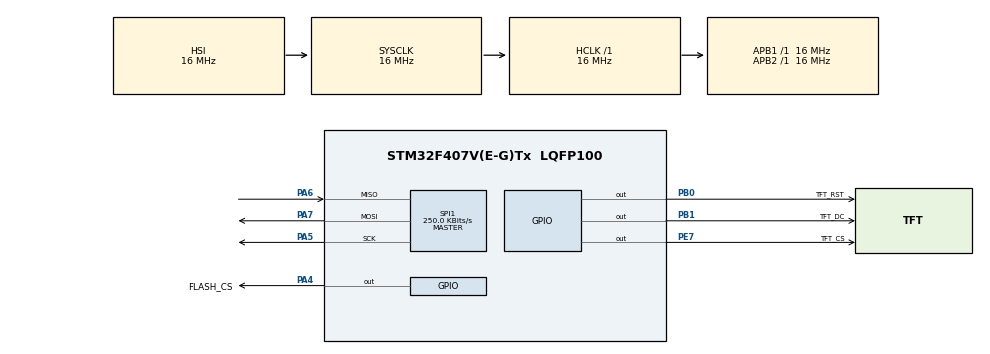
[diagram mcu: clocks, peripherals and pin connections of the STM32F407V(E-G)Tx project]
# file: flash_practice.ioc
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Mcu.Family=STM32F4
Mcu.Name=STM32F407V(E-G)Tx
Mcu.Package=LQFP100
NVIC.PriorityGroup=NVIC_PRIORITYGROUP_4
PA4.GPIO_Label=FLASH_CS
PA4.PinState=GPIO_PIN_SET
PA4.Signal=GPIO_Output
PA5.Mode=Full_Duplex_Master
PA5.Signal=SPI1_SCK
PA6.Mode=Full_Duplex_Master
PA6.Signal=SPI1_MISO
PA7.Mode=Full_Duplex_Master
PA7.Signal=SPI1_MOSI
PB0.GPIO_Label=TFT_RST
PB0.PinState=GPIO_PIN_SET
PB0.Signal=GPIO_Output
PB1.GPIO_Label=TFT_DC
PB1.PinState=GPIO_PIN_SET
PB1.Signal=GPIO_Output
PE7.GPIO_Label=TFT_CS
PE7.PinState=GPIO_PIN_SET
PE7.Signal=GPIO_Output
ProjectManager.HeapSize=0x200
ProjectManager.StackSize=0x400
ProjectManager.TargetToolchain=STM32CubeIDE
RCC.AHBFreq_Value=16000000
RCC.APB1Freq_Value=16000000
RCC.APB2Freq_Value=16000000
RCC.CortexFreq_Value=16000000
RCC.HSE_VALUE=25000000
RCC.HSI_VALUE=16000000
RCC.LSE_VALUE=32768
RCC.SYSCLKFreq_VALUE=16000000
RCC.VCOOutputFreq_Value=192000000
SPI1.BaudRatePrescaler=SPI_BAUDRATEPRESCALER_64
SPI1.CalculateBaudRate=250.0 KBits/s
SPI1.Direction=SPI_DIRECTION_2LINES
SPI1.Mode=SPI_MODE_MASTER
SPI1.VirtualType=VM_MASTER
board=custom

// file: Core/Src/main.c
/* USER CODE BEGIN Header */
/**
  ******************************************************************************
  * @file           : main.c
  * @brief          : Main program body
  ******************************************************************************
  * @attention
  *
  * Copyright (c) 2026 STMicroelectronics.
  * All rights reserved.
  *
  * This software is licensed under terms that can be found in the LICENSE file
  * in the root directory of this software component.
  * If no LICENSE file comes with this software, it is provided AS-IS.
  *
  ******************************************************************************
  */
/* USER CODE END Header */
#include "main.h"

/* USER CODE BEGIN Includes */
#include <stdio.h>
/* USER CODE END Includes */

/* USER CODE BEGIN PTD */
#define SPI1_CLK_GPIO_Port GPIOA
#define SPI1_CLK_Pin GPIO_PIN_5

#define FLASH_CS_GPIO_Port GPIOA
#define FLASH_CS_Pin GPIO_PIN_4

#define TFT_CS_GPIO_Port GPIOE
#define TFT_CS_Pin GPIO_PIN_7
#define TFT_RST_GPIO_Port GPIOB
#define TFT_RST_Pin GPIO_PIN_0
#define TFT_DC_GPIO_Port GPIOB
#define TFT_DC_Pin GPIO_PIN_1

// TFT display setting
#define TFT_BLACK  0x0000
#define TFT_WHITE  0xFFFF
#define TFT_CYAN   0x07FF
#define TFT_GREEN  0x07E0
#define TFT_YELLOW 0xFFE0
#define TFT_GRAY   0x8410
// 5x7 字型，索引依照下面 chars 的順序
static const char chars[] =
    " ABCDEFGHIJKLMNOPQRSTUVWXYZ0123456789:/.-";

static const uint8_t font[][5] = {
    {0,0,0,0,0},          // space
    {0x7E,0x11,0x11,0x11,0x7E}, // A
    {0x7F,0x49,0x49,0x49,0x36}, // B
    {0x3E,0x41,0x41,0x41,0x22}, // C
    {0x7F,0x41,0x41,0x22,0x1C}, // D
    {0x7F,0x49,0x49,0x49,0x41}, // E
    {0x7F,0x09,0x09,0x09,0x01}, // F
    {0x3E,0x41,0x49,0x49,0x7A}, // G
    {0x7F,0x08,0x08,0x08,0x7F}, // H
    {0x41,0x41,0x7F,0x41,0x41}, // I
    {0x20,0x40,0x41,0x3F,0x01}, // J
    {0x7F,0x08,0x14,0x22,0x41}, // K
    {0x7F,0x40,0x40,0x40,0x40}, // L
    {0x7F,0x02,0x0C,0x02,0x7F}, // M
    {0x7F,0x04,0x08,0x10,0x7F}, // N
    {0x3E,0x41,0x41,0x41,0x3E}, // O
    {0x7F,0x09,0x09,0x09,0x06}, // P
    {0x3E,0x41,0x51,0x21,0x5E}, // Q
    {0x7F,0x09,0x19,0x29,0x46}, // R
    {0x46,0x49,0x49,0x49,0x31}, // S
    {0x01,0x01,0x7F,0x01,0x01}, // T
    {0x3F,0x40,0x40,0x40,0x3F}, // U
    {0x1F,0x20,0x40,0x20,0x1F}, // V
    {0x7F,0x20,0x18,0x20,0x7F}, // W
    {0x63,0x14,0x08,0x14,0x63}, // X
    {0x03,0x04,0x78,0x04,0x03}, // Y
    {0x61,0x51,0x49,0x45,0x43}, // Z

    {0x3E,0x51,0x49,0x45,0x3E}, // 0
    {0x00,0x42,0x7F,0x40,0x00}, // 1
    {0x42,0x61,0x51,0x49,0x46}, // 2
    {0x21,0x41,0x45,0x4B,0x31}, // 3
    {0x18,0x14,0x12,0x7F,0x10}, // 4
    {0x27,0x45,0x45,0x45,0x39}, // 5
    {0x3C,0x4A,0x49,0x49,0x30}, // 6
    {0x01,0x71,0x09,0x05,0x03}, // 7
    {0x36,0x49,0x49,0x49,0x36}, // 8
    {0x06,0x49,0x49,0x29,0x1E}, // 9

    {0x00,0x36,0x36,0x00,0x00}, // :
    {0x20,0x10,0x08,0x04,0x02}, // /
    {0x00,0x60,0x60,0x00,0x00}, // .
    {0x08,0x08,0x08,0x08,0x08}  // -
};

/*
 * has_ 欄位表示資料是否有效：
 * 0：尚未取得資料，顯示 N/A，
 * 1：已取得資料，顯示實際數值
 */
typedef struct
{
    uint8_t id[3];
    uint8_t status;
    uint32_t address;
    uint8_t data[4];

    uint8_t has_id;
    uint8_t has_status;
    uint8_t has_address;
    uint8_t has_data;

} FlashInfo;

/* USER CODE END PTD */

/* USER CODE BEGIN PM */
#define SEL_TFT()   HAL_GPIO_WritePin(TFT_CS_GPIO_Port, TFT_CS_Pin, GPIO_PIN_RESET);
#define UNSEL_TFT()   HAL_GPIO_WritePin(TFT_CS_GPIO_Port, TFT_CS_Pin, GPIO_PIN_SET);

#define SEL_FLASH()   HAL_GPIO_WritePin(FLASH_CS_GPIO_Port, FLASH_CS_Pin, GPIO_PIN_RESET);
#define UNSEL_FLASH()   HAL_GPIO_WritePin(FLASH_CS_GPIO_Port, FLASH_CS_Pin, GPIO_PIN_SET);
/* USER CODE END PM */

SPI_HandleTypeDef hspi1;

void SystemClock_Config(void);
static void MX_GPIO_Init(void);
static void MX_SPI1_Init(void);

/* USER CODE BEGIN 0 */
void TFT_Command(uint8_t cmd) {
	SEL_TFT();
	HAL_GPIO_WritePin(TFT_DC_GPIO_Port, TFT_DC_Pin, GPIO_PIN_RESET);
	HAL_SPI_Transmit(&hspi1, &cmd, 1, 1000);
	UNSEL_TFT();
}

void TFT_Data(uint8_t data) {
	SEL_TFT();
	HAL_GPIO_WritePin(TFT_DC_GPIO_Port, TFT_DC_Pin, GPIO_PIN_SET);
	HAL_SPI_Transmit(&hspi1, &data, 1, 1000);
	UNSEL_TFT();
}

void TFT_Init(void) {
	HAL_GPIO_WritePin(TFT_RST_GPIO_Port, TFT_RST_Pin, GPIO_PIN_RESET);
	HAL_Delay(20);
	HAL_GPIO_WritePin(TFT_RST_GPIO_Port, TFT_RST_Pin, GPIO_PIN_SET);

	// software reset
	TFT_Command(0x01);
	HAL_Delay(150);

	// sleep out
	TFT_Command(0x11);
	HAL_Delay(120);

	// 16-bit color(color representing format)
	TFT_Command(0x3A);
	TFT_Data(0x05);

	//Memory access control
	TFT_Command(0x36);
	TFT_Data(0xC0); // rotate 180

	// Normal display mode 螢幕進入正常顯示模式，而不是 Partial Display Mode（局部顯示模式）
	TFT_Command(0x13);
	HAL_Delay(10);

	// Display ON
	TFT_Command(0x29);
	HAL_Delay(100);
}

void TFT_DrawPixel(uint16_t x, uint16_t y, uint16_t color);
void TFT_DrawChar(uint16_t x, uint16_t y, char c,
                  uint16_t color, uint16_t bg);
void TFT_DrawString(uint16_t x, uint16_t y, const char *str,
                    uint16_t color, uint16_t bg);
void TFT_SetAddressWindow(uint16_t x0, uint16_t y0, uint16_t x1, uint16_t y1);
void TFT_FillColor(uint16_t color);
void TFT_ShowFlashInfo(const FlashInfo *info);

/* read status register*/
HAL_StatusTypeDef readFlashStatus(FlashInfo* flash){
	if (flash == NULL)
	    return HAL_ERROR;

	flash->has_status = 0;

	SEL_FLASH();
	uint8_t command = 0x05;
	HAL_StatusTypeDef commute_status = HAL_SPI_Transmit(&hspi1, &command, 1, 1000);
	if (commute_status == HAL_OK) {
		commute_status = HAL_SPI_Receive(&hspi1, &flash->status, 1, 1000);
	}
	UNSEL_FLASH();

	if (commute_status == HAL_OK) {
		flash->has_status = 1;
	}
	return commute_status;
}

HAL_StatusTypeDef readMemory(FlashInfo* flash, uint32_t address){
	if (flash == NULL || address > 0xFFFFFC)
	    return HAL_ERROR;
	flash->has_data = 0;
	flash->has_address = 0;

	uint8_t command[4] = {
			0x03,
			(uint8_t)(address >> 16),
			(uint8_t)(address >> 8),
			(uint8_t)address
	};
	SEL_FLASH();
	HAL_StatusTypeDef status = HAL_SPI_Transmit(&hspi1, command, 4, 1000);
	if (status == HAL_OK) {
		status = HAL_SPI_Receive(&hspi1, flash->data, 4, 1000);
	}
	if (status == HAL_OK) {
		flash->has_data = 1;
		flash->address = address;
		flash->has_address = 1;
	}
	UNSEL_FLASH();
	return status;
}

HAL_StatusTypeDef waitFlashReady(FlashInfo *flash, uint32_t timeout)
{
    uint32_t start = HAL_GetTick();

    while (1)
    {
        HAL_StatusTypeDef result = readFlashStatus(flash);

        if (result != HAL_OK)
            return result;

        if (!(flash->status & 0x01))
            return HAL_OK;

        if (HAL_GetTick() - start >= timeout)
            return HAL_TIMEOUT;
    }
}

HAL_StatusTypeDef writeMemory(FlashInfo* flash, uint32_t address, uint8_t data){
	if (flash == NULL || address > 0xFFFFFC)
	    return HAL_ERROR;

	// until not busy
	HAL_StatusTypeDef readStat;
	readStat = waitFlashReady(flash, 1000);
	if (readStat != HAL_OK) return readStat;

	// write enable
	SEL_FLASH();
	uint8_t command = 0x06;
	readStat = HAL_SPI_Transmit(&hspi1, &command, 1, 1000);
	UNSEL_FLASH();
	if (readStat != HAL_OK) return readStat;

	// until enable
	uint32_t start = HAL_GetTick();
	while(1){
		readStat = readFlashStatus(flash);
		if (readStat != HAL_OK)
			return readStat;

		if (flash->status & 0x02) break;

		if (HAL_GetTick() - start >= 1000)
			return HAL_TIMEOUT;
	}

	// write
	SEL_FLASH();
	uint8_t writeCmd[5] = {
			0x02,
			(uint8_t)(address >> 16),
			(uint8_t)(address >> 8),
			(uint8_t)address,
			data
	};
	readStat = HAL_SPI_Transmit(&hspi1, writeCmd, 5, 1000);
	UNSEL_FLASH();
	if (readStat != HAL_OK) return readStat;

	// until not busy
	return waitFlashReady(flash, 1000);
}

/* USER CODE END 0 */

int main(void)
{

  /* MCU Configuration--------------------------------------------------------*/

  /* Reset of all peripherals, Initializes the Flash interface and the Systick. */
  HAL_Init();

  /* Configure the system clock */
  SystemClock_Config();

  /* Initialize all configured peripherals */
  MX_GPIO_Init();
  MX_SPI1_Init();
  /* USER CODE BEGIN 2 */
  TFT_Init();

  FlashInfo flash = {0};

  // read ID
  SEL_FLASH();
  uint8_t command = 0x9F;
  HAL_StatusTypeDef commute_status = HAL_SPI_Transmit(&hspi1, &command, 1, 1000);
  if (commute_status == HAL_OK)
	  commute_status = HAL_SPI_Receive(&hspi1, flash.id, 3, 1000);
  UNSEL_FLASH();
  if (commute_status == HAL_OK) flash.has_id = 1;

  readFlashStatus(&flash);

  // read memory
  readMemory(&flash, 0x123456);
  TFT_ShowFlashInfo(&flash);

  // write and read
  writeMemory(&flash, 0x123456, 0xAB);
  readMemory(&flash, 0x123456);
  TFT_ShowFlashInfo(&flash);

  /* USER CODE END 2 */

  /* Infinite loop */
  while (1)
  {

  }
}

void SystemClock_Config(void)
{
  RCC_OscInitTypeDef RCC_OscInitStruct = {0};
  RCC_ClkInitTypeDef RCC_ClkInitStruct = {0};

  /** Configure the main internal regulator output voltage
  */
  __HAL_RCC_PWR_CLK_ENABLE();
  __HAL_PWR_VOLTAGESCALING_CONFIG(PWR_REGULATOR_VOLTAGE_SCALE1);

  /** Initializes the RCC Oscillators according to the specified parameters
  * in the RCC_OscInitTypeDef structure.
  */
  RCC_OscInitStruct.OscillatorType = RCC_OSCILLATORTYPE_HSI;
  RCC_OscInitStruct.HSIState = RCC_HSI_ON;
  RCC_OscInitStruct.HSICalibrationValue = RCC_HSICALIBRATION_DEFAULT;
  RCC_OscInitStruct.PLL.PLLState = RCC_PLL_NONE;
  if (HAL_RCC_OscConfig(&RCC_OscInitStruct) != HAL_OK)
  {
    Error_Handler();
  }

  /** Initializes the CPU, AHB and APB buses clocks
  */
  RCC_ClkInitStruct.ClockType = RCC_CLOCKTYPE_HCLK|RCC_CLOCKTYPE_SYSCLK
                              |RCC_CLOCKTYPE_PCLK1|RCC_CLOCKTYPE_PCLK2;
  RCC_ClkInitStruct.SYSCLKSource = RCC_SYSCLKSOURCE_HSI;
  RCC_ClkInitStruct.AHBCLKDivider = RCC_SYSCLK_DIV1;
  RCC_ClkInitStruct.APB1CLKDivider = RCC_HCLK_DIV1;
  RCC_ClkInitStruct.APB2CLKDivider = RCC_HCLK_DIV1;

  if (HAL_RCC_ClockConfig(&RCC_ClkInitStruct, FLASH_LATENCY_0) != HAL_OK)
  {
    Error_Handler();
  }
}

static void MX_SPI1_Init(void)
{

  /* SPI1 parameter configuration*/
  hspi1.Instance = SPI1;
  hspi1.Init.Mode = SPI_MODE_MASTER;
  hspi1.Init.Direction = SPI_DIRECTION_2LINES;
  hspi1.Init.DataSize = SPI_DATASIZE_8BIT;
  hspi1.Init.CLKPolarity = SPI_POLARITY_LOW;
  hspi1.Init.CLKPhase = SPI_PHASE_1EDGE;
  hspi1.Init.NSS = SPI_NSS_SOFT;
  hspi1.Init.BaudRatePrescaler = SPI_BAUDRATEPRESCALER_64;
  hspi1.Init.FirstBit = SPI_FIRSTBIT_MSB;
  hspi1.Init.TIMode = SPI_TIMODE_DISABLE;
  hspi1.Init.CRCCalculation = SPI_CRCCALCULATION_DISABLE;
  hspi1.Init.CRCPolynomial = 10;
  if (HAL_SPI_Init(&hspi1) != HAL_OK)
  {
    Error_Handler();
  }

}

static void MX_GPIO_Init(void)
{
  GPIO_InitTypeDef GPIO_InitStruct = {0};

  /* GPIO Ports Clock Enable */
  __HAL_RCC_GPIOA_CLK_ENABLE();
  __HAL_RCC_GPIOB_CLK_ENABLE();
  __HAL_RCC_GPIOE_CLK_ENABLE();

  /*Configure GPIO pin Output Level */
  HAL_GPIO_WritePin(FLASH_CS_GPIO_Port, FLASH_CS_Pin, GPIO_PIN_SET);

  /*Configure GPIO pin Output Level */
  HAL_GPIO_WritePin(GPIOB, TFT_RST_Pin|TFT_DC_Pin, GPIO_PIN_SET);

  /*Configure GPIO pin Output Level */
  HAL_GPIO_WritePin(TFT_CS_GPIO_Port, TFT_CS_Pin, GPIO_PIN_SET);

  /*Configure GPIO pin : FLASH_CS_Pin */
  GPIO_InitStruct.Pin = FLASH_CS_Pin;
  GPIO_InitStruct.Mode = GPIO_MODE_OUTPUT_PP;
  GPIO_InitStruct.Pull = GPIO_NOPULL;
  GPIO_InitStruct.Speed = GPIO_SPEED_FREQ_LOW;
  HAL_GPIO_Init(FLASH_CS_GPIO_Port, &GPIO_InitStruct);

  /*Configure GPIO pins : TFT_RST_Pin TFT_DC_Pin */
  GPIO_InitStruct.Pin = TFT_RST_Pin|TFT_DC_Pin;
  GPIO_InitStruct.Mode = GPIO_MODE_OUTPUT_PP;
  GPIO_InitStruct.Pull = GPIO_NOPULL;
  GPIO_InitStruct.Speed = GPIO_SPEED_FREQ_LOW;
  HAL_GPIO_Init(GPIOB, &GPIO_InitStruct);

  /*Configure GPIO pin : TFT_CS_Pin */
  GPIO_InitStruct.Pin = TFT_CS_Pin;
  GPIO_InitStruct.Mode = GPIO_MODE_OUTPUT_PP;
  GPIO_InitStruct.Pull = GPIO_NOPULL;
  GPIO_InitStruct.Speed = GPIO_SPEED_FREQ_LOW;
  HAL_GPIO_Init(TFT_CS_GPIO_Port, &GPIO_InitStruct);

}

/* USER CODE BEGIN 4 */
void TFT_SetAddressWindow(uint16_t x0, uint16_t y0, uint16_t x1, uint16_t y1)
{
    TFT_Command(0x2A);
    TFT_Data(x0 >> 8);
    TFT_Data(x0 & 0xFF);
    TFT_Data(x1 >> 8);
    TFT_Data(x1 & 0xFF);

    TFT_Command(0x2B);
    TFT_Data(y0 >> 8);
    TFT_Data(y0 & 0xFF);
    TFT_Data(y1 >> 8);
    TFT_Data(y1 & 0xFF);
}

void TFT_FillColor(uint16_t color)
{
    TFT_SetAddressWindow(0, 0, 127, 159);
    TFT_Command(0x2C);

    uint8_t pixel[2] = {
        (uint8_t)(color >> 8),
        (uint8_t)(color & 0xFF)
    };

    SEL_TFT();
    HAL_GPIO_WritePin(TFT_DC_GPIO_Port, TFT_DC_Pin, GPIO_PIN_SET);

    for (int i = 0; i < 128 * 160; i++)
    {
        HAL_SPI_Transmit(&hspi1, pixel, 2, 1000);
    }

    UNSEL_TFT();
}

void TFT_DrawPixel(uint16_t x, uint16_t y, uint16_t color)
{
    if (x >= 128 || y >= 160) return;

    TFT_SetAddressWindow(x, y, x, y);
    TFT_Command(0x2C);

    uint8_t pixel[2] = {
        (uint8_t)(color >> 8),
        (uint8_t)(color & 0xFF)
    };

    SEL_TFT();
    HAL_GPIO_WritePin(TFT_DC_GPIO_Port, TFT_DC_Pin, GPIO_PIN_SET);
    HAL_SPI_Transmit(&hspi1, pixel, 2, 1000);
    UNSEL_TFT();
}

void TFT_DrawChar(uint16_t x, uint16_t y, char c,
                  uint16_t color, uint16_t bg)
{
    const uint8_t *glyph = font[0];

    for (unsigned int i = 0; i < sizeof(chars) - 1; i++)
    {
        if (chars[i] == c)
        {
            glyph = font[i];
            break;
        }
    }

    for (int col = 0; col < 6; col++)
    {
        for (int row = 0; row < 8; row++)
        {
            uint16_t pixelColor = bg;

            if (col < 5 && row < 7)
            {
                if (glyph[col] & (1 << row))
                    pixelColor = color;
            }

            TFT_DrawPixel(x + col, y + row, pixelColor);
        }
    }
}

void TFT_DrawString(uint16_t x, uint16_t y, const char *str,
                    uint16_t color, uint16_t bg)
{
    while (*str && x <= 122)
    {
        TFT_DrawChar(x, y, *str, color, bg);
        x += 6;
        str++;
    }
}

void TFT_ShowFlashInfo(const FlashInfo *info)
{
    if (info == NULL)
        return;

    char buf[32];

    // Clear screen
    TFT_FillColor(TFT_BLACK);

    // Title
    TFT_DrawString(4, 4, "SPI FLASH MONITOR",
                   TFT_CYAN, TFT_BLACK);

    TFT_DrawString(4, 18, "W25Q128JV / SPI1",
                   TFT_GRAY, TFT_BLACK);

    // JEDEC ID
    if (info->has_id)
    {
        snprintf(buf, sizeof(buf), "ID:%02X %02X %02X",
                 info->id[0],
                 info->id[1],
                 info->id[2]);
    }
    else
    {
        snprintf(buf, sizeof(buf), "ID:N/A");
    }

    TFT_DrawString(4, 40, buf, TFT_WHITE, TFT_BLACK);

    // Status Register
    if (info->has_status)
    {
        snprintf(buf, sizeof(buf), "STATUS:%02X",
                 info->status);
    }
    else
    {
        snprintf(buf, sizeof(buf), "STATUS:N/A");
    }

    TFT_DrawString(4, 56, buf, TFT_GREEN, TFT_BLACK);

    // BUSY / WEL
    if (info->has_status)
    {
        snprintf(buf, sizeof(buf), "BUSY:%d WEL:%d",
                 info->status & 0x01,
                 (info->status >> 1) & 0x01);
    }
    else
    {
        snprintf(buf, sizeof(buf), "BUSY:N/A WEL:N/A");
    }

    TFT_DrawString(4, 72, buf, TFT_GREEN, TFT_BLACK);

    // Address
    if (info->has_address)
    {
        snprintf(buf, sizeof(buf), "ADDR:%06lX",
                 (unsigned long)(info->address & 0xFFFFFF));
    }
    else
    {
        snprintf(buf, sizeof(buf), "ADDR:N/A");
    }

    TFT_DrawString(4, 96, buf, TFT_YELLOW, TFT_BLACK);

    // Data
    TFT_DrawString(4, 112, "DATA:",
                   TFT_GRAY, TFT_BLACK);

    if (info->has_data)
    {
        snprintf(buf, sizeof(buf), "%02X %02X %02X %02X",
                 info->data[0],
                 info->data[1],
                 info->data[2],
                 info->data[3]);
    }
    else
    {
        snprintf(buf, sizeof(buf), "N/A");
    }

    TFT_DrawString(4, 124, buf, TFT_WHITE, TFT_BLACK);
}
/* USER CODE END 4 */

void Error_Handler(void)
{
  __disable_irq();
  while (1)
  {
  }
}
